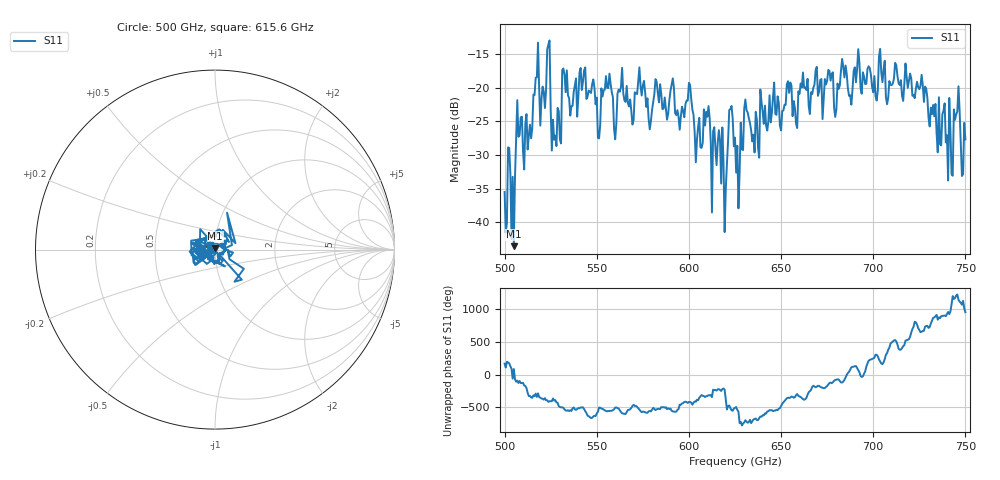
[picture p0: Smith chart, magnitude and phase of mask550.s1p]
!Created with skrf (http://scikit-rf.org).
# GHz S MA R 50.0
!freq magS11 angS11
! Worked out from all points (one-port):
!   401 points, 500 GHz to 750 GHz, reference 50 ohm
!   lowest |S11| = -43.6 dB at 505 GHz (marker M1), VSWR 1.01, Z = 50.1 + j0.661 ohm
!   |S11| at or under -10 dB: start of sweep to end of sweep
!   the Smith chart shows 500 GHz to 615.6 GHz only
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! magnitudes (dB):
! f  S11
! 500 GHz  -35.5
! 505 GHz  -43.6
! 507.5 GHz  -27.3
! 513.8 GHz  -25.5
! 516.9 GHz  -18.5
! 520.6 GHz  -19.8
! 523.8 GHz  -13.6
! 526.9 GHz  -27.7
! 531.2 GHz  -17.4
! 542.5 GHz  -19.1
! 550.6 GHz  -27.4
! 562.5 GHz  -20.6
! 590.6 GHz  -19.5
! 593.8 GHz  -23.3
! 609.4 GHz  -23.6
! 618.8 GHz  -30.9
! 622.5 GHz  -23.2
! 625 GHz  -27.4
! 656.2 GHz  -24.2
! 676.9 GHz  -19.0
! 680 GHz  -23.2
! 683.8 GHz  -16.9
! 687.5 GHz  -21.1
! 691.2 GHz  -17.2
! 718.8 GHz  -20.0
! 741.9 GHz  -26.3
! 745 GHz  -24.0
! 750 GHz  -27.7
